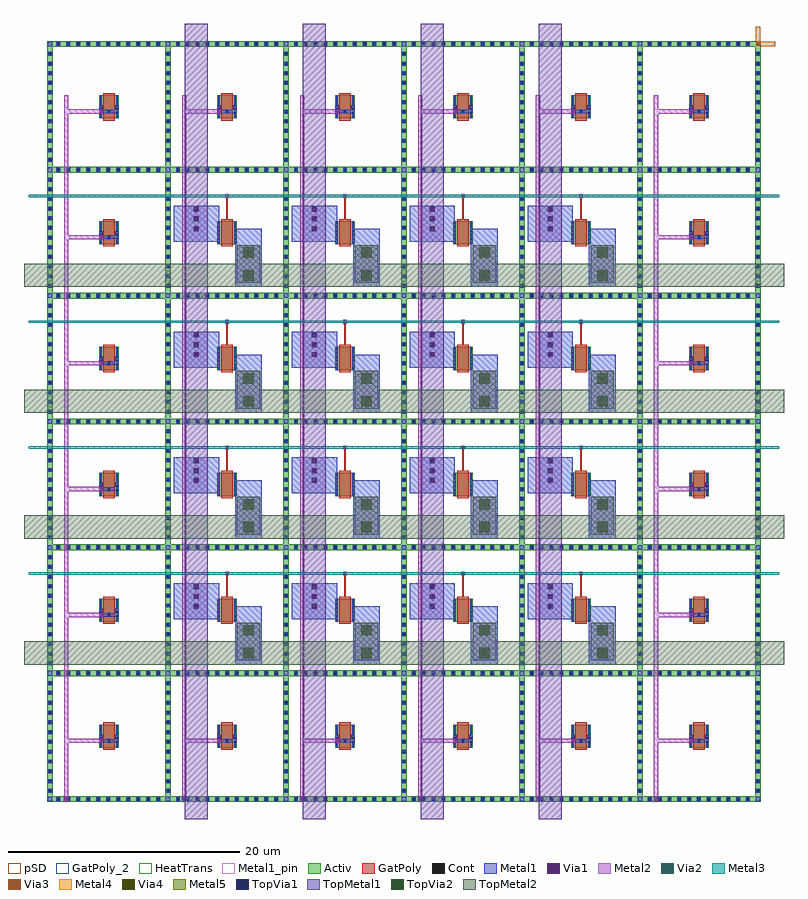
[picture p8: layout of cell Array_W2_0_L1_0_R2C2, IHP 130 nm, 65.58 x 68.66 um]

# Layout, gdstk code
import gdstk
lib = gdstk.Library(unit=1e-6, precision=1e-09)
def R(c, l, rs):  # rectangles x0, y0, x1, y1
    for r in rs: c.add(gdstk.rectangle(r[:2], r[2:], *l))
def A(c, l, x, y, w, h, nx, ny, dx, dy):  # array of equal rectangles
    R(c, l, [(x+i*dx, y+j*dy, x+i*dx+w, y+j*dy+h) for i in range(nx) for j in range(ny)])
Activ = (1, 0)
GatPoly = (5, 0)
GatPoly_2 = (5, 2)
Cont = (6, 0)
Metal1 = (8, 0)
Metal1_pin = (8, 2)
Metal2 = (10, 0)
pSD = (14, 0)
Via1 = (19, 0)
Via2 = (29, 0)
Metal3 = (30, 0)
Via3 = (49, 0)
Metal4 = (50, 0)
HeatTrans = (51, 0)
Via4 = (66, 0)
Metal5 = (67, 0)
TopVia1 = (125, 0)
TopMetal1 = (126, 0)
TopVia2 = (133, 0)
TopMetal2 = (134, 0)

array_w2_0_l1_0_r2c2 = lib.new_cell('Array_W2_0_L1_0_R2C2')
A(array_w2_0_l1_0_r2c2, Activ, 0, 0, 0.5, 65.66, 7, 1, 10.18, 0)
A(array_w2_0_l1_0_r2c2, Activ, 0, 0, 61.58, 0.5, 1, 7, 0, 10.86)
A(array_w2_0_l1_0_r2c2, Activ, 4.5, 4.68, 0.3, 0.3, 1, 6, 0, 10.86)
A(array_w2_0_l1_0_r2c2, Activ, 4.5, 4.68, 1.68, 2, 6, 6, 10.18, 10.86)
A(array_w2_0_l1_0_r2c2, Activ, 5.88, 4.68, 0.3, 0.3, 1, 6, 0, 10.86)
A(array_w2_0_l1_0_r2c2, Activ, 14.68, 4.68, 0.3, 0.3, 1, 6, 0, 10.86)
A(array_w2_0_l1_0_r2c2, Activ, 16.06, 4.68, 0.3, 0.3, 1, 6, 0, 10.86)
A(array_w2_0_l1_0_r2c2, Activ, 24.86, 4.68, 0.3, 0.3, 1, 6, 0, 10.86)
A(array_w2_0_l1_0_r2c2, Activ, 26.24, 4.68, 0.3, 0.3, 1, 6, 0, 10.86)
A(array_w2_0_l1_0_r2c2, Activ, 35.04, 4.68, 0.3, 0.3, 1, 6, 0, 10.86)
A(array_w2_0_l1_0_r2c2, Activ, 36.42, 4.68, 0.3, 0.3, 1, 6, 0, 10.86)
A(array_w2_0_l1_0_r2c2, Activ, 45.22, 4.68, 0.3, 0.3, 1, 6, 0, 10.86)
A(array_w2_0_l1_0_r2c2, Activ, 46.6, 4.68, 0.3, 0.3, 1, 6, 0, 10.86)
A(array_w2_0_l1_0_r2c2, Activ, 55.4, 4.68, 0.3, 0.3, 1, 6, 0, 10.86)
A(array_w2_0_l1_0_r2c2, Activ, 56.78, 4.68, 0.3, 0.3, 1, 6, 0, 10.86)
A(array_w2_0_l1_0_r2c2, GatPoly, 4.84, 4.5, 1, 2.36, 6, 6, 10.18, 10.86)
A(array_w2_0_l1_0_r2c2, GatPoly, 5.275, 5.28, 0.13, 0.2, 6, 2, 10.18, 54.3)
A(array_w2_0_l1_0_r2c2, GatPoly, 5.275, 16.14, 0.13, 0.2, 1, 4, 0, 10.86)
A(array_w2_0_l1_0_r2c2, GatPoly, 56.175, 16.14, 0.13, 0.2, 1, 4, 0, 10.86)
A(array_w2_0_l1_0_r2c2, GatPoly, 15.455, 17.72, 0.13, 2, 4, 4, 10.18, 10.86)
A(array_w2_0_l1_0_r2c2, GatPoly_2, 4.84, 4.5, 1, 2.36, 6, 6, 10.18, 10.86)
A(array_w2_0_l1_0_r2c2, Cont, 0.86, 0.14, 0.22, 0.22, 11, 7, 0.86, 10.86)
A(array_w2_0_l1_0_r2c2, Cont, 11.18, 0.14, 0.22, 0.22, 11, 7, 0.846, 10.86)
A(array_w2_0_l1_0_r2c2, Cont, 21.36, 0.14, 0.22, 0.22, 11, 7, 0.846, 10.86)
A(array_w2_0_l1_0_r2c2, Cont, 31.54, 0.14, 0.22, 0.22, 11, 7, 0.846, 10.86)
A(array_w2_0_l1_0_r2c2, Cont, 41.72, 0.14, 0.22, 0.22, 11, 7, 0.846, 10.86)
A(array_w2_0_l1_0_r2c2, Cont, 51.9, 0.14, 0.22, 0.22, 11, 7, 0.846, 10.86)
A(array_w2_0_l1_0_r2c2, Cont, 0.14, 0.845, 0.22, 0.22, 7, 12, 10.18, 0.845)
A(array_w2_0_l1_0_r2c2, Cont, 4.57, 4.75, 0.16, 0.16, 1, 6, 0, 0.34)
A(array_w2_0_l1_0_r2c2, Cont, 5.95, 4.75, 0.16, 0.16, 1, 6, 0, 0.34)
A(array_w2_0_l1_0_r2c2, Cont, 14.75, 4.75, 0.16, 0.16, 1, 6, 0, 0.34)
A(array_w2_0_l1_0_r2c2, Cont, 16.13, 4.75, 0.16, 0.16, 1, 6, 0, 0.34)
A(array_w2_0_l1_0_r2c2, Cont, 24.93, 4.75, 0.16, 0.16, 1, 6, 0, 0.34)
A(array_w2_0_l1_0_r2c2, Cont, 26.31, 4.75, 0.16, 0.16, 1, 6, 0, 0.34)
A(array_w2_0_l1_0_r2c2, Cont, 35.11, 4.75, 0.16, 0.16, 1, 6, 0, 0.34)
A(array_w2_0_l1_0_r2c2, Cont, 36.49, 4.75, 0.16, 0.16, 1, 6, 0, 0.34)
A(array_w2_0_l1_0_r2c2, Cont, 45.29, 4.75, 0.16, 0.16, 1, 6, 0, 0.34)
A(array_w2_0_l1_0_r2c2, Cont, 46.67, 4.75, 0.16, 0.16, 1, 6, 0, 0.34)
A(array_w2_0_l1_0_r2c2, Cont, 55.47, 4.75, 0.16, 0.16, 1, 6, 0, 0.34)
A(array_w2_0_l1_0_r2c2, Cont, 56.85, 4.75, 0.16, 0.16, 1, 6, 0, 0.34)
A(array_w2_0_l1_0_r2c2, Cont, 5.23, 5.17, 0.22, 0.22, 6, 2, 10.18, 54.3)
A(array_w2_0_l1_0_r2c2, Cont, 0.14, 11.86, 0.22, 0.22, 7, 2, 10.18, 0.83)
A(array_w2_0_l1_0_r2c2, Cont, 0.14, 13.521, 0.22, 0.22, 7, 10, 10.18, 0.831)
A(array_w2_0_l1_0_r2c2, Cont, 4.57, 15.61, 0.16, 0.16, 1, 6, 0, 0.34)
A(array_w2_0_l1_0_r2c2, Cont, 5.95, 15.61, 0.16, 0.16, 1, 6, 0, 0.34)
A(array_w2_0_l1_0_r2c2, Cont, 14.75, 15.61, 0.16, 0.16, 1, 6, 0, 0.34)
A(array_w2_0_l1_0_r2c2, Cont, 16.13, 15.61, 0.16, 0.16, 1, 6, 0, 0.34)
A(array_w2_0_l1_0_r2c2, Cont, 24.93, 15.61, 0.16, 0.16, 1, 6, 0, 0.34)
A(array_w2_0_l1_0_r2c2, Cont, 26.31, 15.61, 0.16, 0.16, 1, 6, 0, 0.34)
A(array_w2_0_l1_0_r2c2, Cont, 35.11, 15.61, 0.16, 0.16, 1, 6, 0, 0.34)
A(array_w2_0_l1_0_r2c2, Cont, 36.49, 15.61, 0.16, 0.16, 1, 6, 0, 0.34)
A(array_w2_0_l1_0_r2c2, Cont, 45.29, 15.61, 0.16, 0.16, 1, 6, 0, 0.34)
A(array_w2_0_l1_0_r2c2, Cont, 46.67, 15.61, 0.16, 0.16, 1, 6, 0, 0.34)
A(array_w2_0_l1_0_r2c2, Cont, 55.47, 15.61, 0.16, 0.16, 1, 6, 0, 0.34)
A(array_w2_0_l1_0_r2c2, Cont, 56.85, 15.61, 0.16, 0.16, 1, 6, 0, 0.34)
A(array_w2_0_l1_0_r2c2, Cont, 5.23, 16.03, 0.22, 0.22, 1, 4, 0, 10.86)
A(array_w2_0_l1_0_r2c2, Cont, 56.13, 16.03, 0.22, 0.22, 1, 4, 0, 10.86)
A(array_w2_0_l1_0_r2c2, Cont, 15.41, 19.61, 0.22, 0.22, 4, 4, 10.18, 10.86)
A(array_w2_0_l1_0_r2c2, Cont, 0.14, 22.72, 0.22, 0.22, 7, 2, 10.18, 0.83)
A(array_w2_0_l1_0_r2c2, Cont, 0.14, 24.381, 0.22, 0.22, 7, 10, 10.18, 0.831)
A(array_w2_0_l1_0_r2c2, Cont, 4.57, 26.47, 0.16, 0.16, 1, 6, 0, 0.34)
A(array_w2_0_l1_0_r2c2, Cont, 5.95, 26.47, 0.16, 0.16, 1, 6, 0, 0.34)
A(array_w2_0_l1_0_r2c2, Cont, 14.75, 26.47, 0.16, 0.16, 1, 6, 0, 0.34)
A(array_w2_0_l1_0_r2c2, Cont, 16.13, 26.47, 0.16, 0.16, 1, 6, 0, 0.34)
A(array_w2_0_l1_0_r2c2, Cont, 24.93, 26.47, 0.16, 0.16, 1, 6, 0, 0.34)
A(array_w2_0_l1_0_r2c2, Cont, 26.31, 26.47, 0.16, 0.16, 1, 6, 0, 0.34)
A(array_w2_0_l1_0_r2c2, Cont, 35.11, 26.47, 0.16, 0.16, 1, 6, 0, 0.34)
A(array_w2_0_l1_0_r2c2, Cont, 36.49, 26.47, 0.16, 0.16, 1, 6, 0, 0.34)
A(array_w2_0_l1_0_r2c2, Cont, 45.29, 26.47, 0.16, 0.16, 1, 6, 0, 0.34)
A(array_w2_0_l1_0_r2c2, Cont, 46.67, 26.47, 0.16, 0.16, 1, 6, 0, 0.34)
A(array_w2_0_l1_0_r2c2, Cont, 55.47, 26.47, 0.16, 0.16, 1, 6, 0, 0.34)
A(array_w2_0_l1_0_r2c2, Cont, 56.85, 26.47, 0.16, 0.16, 1, 6, 0, 0.34)
A(array_w2_0_l1_0_r2c2, Cont, 0.14, 33.58, 0.22, 0.22, 7, 2, 10.18, 0.83)
A(array_w2_0_l1_0_r2c2, Cont, 0.14, 35.241, 0.22, 0.22, 7, 10, 10.18, 0.831)
A(array_w2_0_l1_0_r2c2, Cont, 4.57, 37.33, 0.16, 0.16, 1, 6, 0, 0.34)
A(array_w2_0_l1_0_r2c2, Cont, 5.95, 37.33, 0.16, 0.16, 1, 6, 0, 0.34)
A(array_w2_0_l1_0_r2c2, Cont, 14.75, 37.33, 0.16, 0.16, 1, 6, 0, 0.34)
A(array_w2_0_l1_0_r2c2, Cont, 16.13, 37.33, 0.16, 0.16, 1, 6, 0, 0.34)
A(array_w2_0_l1_0_r2c2, Cont, 24.93, 37.33, 0.16, 0.16, 1, 6, 0, 0.34)
A(array_w2_0_l1_0_r2c2, Cont, 26.31, 37.33, 0.16, 0.16, 1, 6, 0, 0.34)
A(array_w2_0_l1_0_r2c2, Cont, 35.11, 37.33, 0.16, 0.16, 1, 6, 0, 0.34)
A(array_w2_0_l1_0_r2c2, Cont, 36.49, 37.33, 0.16, 0.16, 1, 6, 0, 0.34)
A(array_w2_0_l1_0_r2c2, Cont, 45.29, 37.33, 0.16, 0.16, 1, 6, 0, 0.34)
A(array_w2_0_l1_0_r2c2, Cont, 46.67, 37.33, 0.16, 0.16, 1, 6, 0, 0.34)
A(array_w2_0_l1_0_r2c2, Cont, 55.47, 37.33, 0.16, 0.16, 1, 6, 0, 0.34)
A(array_w2_0_l1_0_r2c2, Cont, 56.85, 37.33, 0.16, 0.16, 1, 6, 0, 0.34)
A(array_w2_0_l1_0_r2c2, Cont, 0.14, 44.44, 0.22, 0.22, 7, 2, 10.18, 0.83)
A(array_w2_0_l1_0_r2c2, Cont, 0.14, 46.101, 0.22, 0.22, 7, 10, 10.18, 0.831)
A(array_w2_0_l1_0_r2c2, Cont, 4.57, 48.19, 0.16, 0.16, 1, 6, 0, 0.34)
A(array_w2_0_l1_0_r2c2, Cont, 5.95, 48.19, 0.16, 0.16, 1, 6, 0, 0.34)
A(array_w2_0_l1_0_r2c2, Cont, 14.75, 48.19, 0.16, 0.16, 1, 6, 0, 0.34)
A(array_w2_0_l1_0_r2c2, Cont, 16.13, 48.19, 0.16, 0.16, 1, 6, 0, 0.34)
A(array_w2_0_l1_0_r2c2, Cont, 24.93, 48.19, 0.16, 0.16, 1, 6, 0, 0.34)
A(array_w2_0_l1_0_r2c2, Cont, 26.31, 48.19, 0.16, 0.16, 1, 6, 0, 0.34)
A(array_w2_0_l1_0_r2c2, Cont, 35.11, 48.19, 0.16, 0.16, 1, 6, 0, 0.34)
A(array_w2_0_l1_0_r2c2, Cont, 36.49, 48.19, 0.16, 0.16, 1, 6, 0, 0.34)
A(array_w2_0_l1_0_r2c2, Cont, 45.29, 48.19, 0.16, 0.16, 1, 6, 0, 0.34)
A(array_w2_0_l1_0_r2c2, Cont, 46.67, 48.19, 0.16, 0.16, 1, 6, 0, 0.34)
A(array_w2_0_l1_0_r2c2, Cont, 55.47, 48.19, 0.16, 0.16, 1, 6, 0, 0.34)
A(array_w2_0_l1_0_r2c2, Cont, 56.85, 48.19, 0.16, 0.16, 1, 6, 0, 0.34)
A(array_w2_0_l1_0_r2c2, Cont, 0.14, 55.3, 0.22, 0.22, 7, 2, 10.18, 0.83)
A(array_w2_0_l1_0_r2c2, Cont, 0.14, 56.961, 0.22, 0.22, 7, 10, 10.18, 0.831)
A(array_w2_0_l1_0_r2c2, Cont, 4.57, 59.05, 0.16, 0.16, 1, 6, 0, 0.34)
A(array_w2_0_l1_0_r2c2, Cont, 5.95, 59.05, 0.16, 0.16, 1, 6, 0, 0.34)
A(array_w2_0_l1_0_r2c2, Cont, 14.75, 59.05, 0.16, 0.16, 1, 6, 0, 0.34)
A(array_w2_0_l1_0_r2c2, Cont, 16.13, 59.05, 0.16, 0.16, 1, 6, 0, 0.34)
A(array_w2_0_l1_0_r2c2, Cont, 24.93, 59.05, 0.16, 0.16, 1, 6, 0, 0.34)
A(array_w2_0_l1_0_r2c2, Cont, 26.31, 59.05, 0.16, 0.16, 1, 6, 0, 0.34)
A(array_w2_0_l1_0_r2c2, Cont, 35.11, 59.05, 0.16, 0.16, 1, 6, 0, 0.34)
A(array_w2_0_l1_0_r2c2, Cont, 36.49, 59.05, 0.16, 0.16, 1, 6, 0, 0.34)
A(array_w2_0_l1_0_r2c2, Cont, 45.29, 59.05, 0.16, 0.16, 1, 6, 0, 0.34)
A(array_w2_0_l1_0_r2c2, Cont, 46.67, 59.05, 0.16, 0.16, 1, 6, 0, 0.34)
A(array_w2_0_l1_0_r2c2, Cont, 55.47, 59.05, 0.16, 0.16, 1, 6, 0, 0.34)
A(array_w2_0_l1_0_r2c2, Cont, 56.85, 59.05, 0.16, 0.16, 1, 6, 0, 0.34)
A(array_w2_0_l1_0_r2c2, Metal1, 0.8, 0.08, 0.34, 0.34, 11, 7, 0.86, 10.86)
A(array_w2_0_l1_0_r2c2, Metal1, 11.12, 0.08, 0.34, 0.34, 11, 7, 0.846, 10.86)
A(array_w2_0_l1_0_r2c2, Metal1, 21.3, 0.08, 0.34, 0.34, 11, 7, 0.846, 10.86)
A(array_w2_0_l1_0_r2c2, Metal1, 31.48, 0.08, 0.34, 0.34, 11, 7, 0.846, 10.86)
A(array_w2_0_l1_0_r2c2, Metal1, 41.66, 0.08, 0.34, 0.34, 11, 7, 0.846, 10.86)
A(array_w2_0_l1_0_r2c2, Metal1, 51.84, 0.08, 0.34, 0.34, 11, 7, 0.846, 10.86)
A(array_w2_0_l1_0_r2c2, Metal1, 0.08, 0.785, 0.34, 0.34, 7, 12, 10.18, 0.845)
A(array_w2_0_l1_0_r2c2, Metal1, 4.57, 4.68, 0.16, 2, 1, 6, 0, 10.86)
A(array_w2_0_l1_0_r2c2, Metal1, 5.95, 4.68, 0.16, 2, 1, 6, 0, 10.86)
A(array_w2_0_l1_0_r2c2, Metal1, 14.75, 4.68, 0.16, 2, 1, 6, 0, 10.86)
A(array_w2_0_l1_0_r2c2, Metal1, 16.13, 4.68, 0.16, 2, 1, 6, 0, 10.86)
A(array_w2_0_l1_0_r2c2, Metal1, 24.93, 4.68, 0.16, 2, 1, 6, 0, 10.86)
A(array_w2_0_l1_0_r2c2, Metal1, 26.31, 4.68, 0.16, 2, 1, 6, 0, 10.86)
A(array_w2_0_l1_0_r2c2, Metal1, 35.11, 4.68, 0.16, 2, 1, 6, 0, 10.86)
A(array_w2_0_l1_0_r2c2, Metal1, 36.49, 4.68, 0.16, 2, 1, 6, 0, 10.86)
A(array_w2_0_l1_0_r2c2, Metal1, 45.29, 4.68, 0.16, 2, 1, 6, 0, 10.86)
A(array_w2_0_l1_0_r2c2, Metal1, 46.67, 4.68, 0.16, 2, 1, 6, 0, 10.86)
A(array_w2_0_l1_0_r2c2, Metal1, 55.47, 4.68, 0.16, 2, 1, 6, 0, 10.86)
A(array_w2_0_l1_0_r2c2, Metal1, 56.85, 4.68, 0.16, 2, 1, 6, 0, 10.86)
A(array_w2_0_l1_0_r2c2, Metal1, 5.17, 5.11, 0.34, 0.34, 6, 2, 10.18, 54.3)
A(array_w2_0_l1_0_r2c2, Metal1, 4.51, 5.14, 0.28, 0.68, 1, 6, 0, 10.86)
A(array_w2_0_l1_0_r2c2, Metal1, 4.51, 5.14, 1.66, 0.28, 6, 2, 10.18, 54.3)
A(array_w2_0_l1_0_r2c2, Metal1, 5.89, 5.14, 0.28, 0.68, 1, 6, 0, 10.86)
A(array_w2_0_l1_0_r2c2, Metal1, 55.41, 5.14, 0.28, 0.68, 1, 6, 0, 10.86)
A(array_w2_0_l1_0_r2c2, Metal1, 56.79, 5.14, 0.28, 0.68, 1, 6, 0, 10.86)
A(array_w2_0_l1_0_r2c2, Metal1, 0.05, 10.91, 0.4, 0.4, 7, 6, 10.18, 10.86)
A(array_w2_0_l1_0_r2c2, Metal1, 0.08, 11.8, 0.34, 0.34, 7, 2, 10.18, 0.83)
A(array_w2_0_l1_0_r2c2, Metal1, 16.21, 11.86, 2.32, 5.02, 4, 4, 10.18, 10.86)
A(array_w2_0_l1_0_r2c2, Metal1, 0.08, 13.461, 0.34, 0.34, 7, 10, 10.18, 0.831)
A(array_w2_0_l1_0_r2c2, Metal1, 10.91, 15.76, 3.92, 3.11, 4, 4, 10.18, 10.86)
A(array_w2_0_l1_0_r2c2, Metal1, 5.17, 15.97, 0.34, 0.34, 1, 4, 0, 10.86)
A(array_w2_0_l1_0_r2c2, Metal1, 56.07, 15.97, 0.34, 0.34, 1, 4, 0, 10.86)
A(array_w2_0_l1_0_r2c2, Metal1, 4.51, 16, 1.66, 0.28, 1, 4, 0, 10.86)
A(array_w2_0_l1_0_r2c2, Metal1, 55.41, 16, 1.66, 0.28, 1, 4, 0, 10.86)
A(array_w2_0_l1_0_r2c2, Metal1, 15.36, 19.56, 0.32, 0.32, 4, 4, 10.18, 10.86)
A(array_w2_0_l1_0_r2c2, Metal1, 0.08, 22.66, 0.34, 0.34, 7, 2, 10.18, 0.83)
A(array_w2_0_l1_0_r2c2, Metal1, 0.08, 24.321, 0.34, 0.34, 7, 10, 10.18, 0.831)
A(array_w2_0_l1_0_r2c2, Metal1, 0.08, 33.52, 0.34, 0.34, 7, 2, 10.18, 0.83)
A(array_w2_0_l1_0_r2c2, Metal1, 0.08, 35.181, 0.34, 0.34, 7, 10, 10.18, 0.831)
A(array_w2_0_l1_0_r2c2, Metal1, 0.08, 44.38, 0.34, 0.34, 7, 2, 10.18, 0.83)
A(array_w2_0_l1_0_r2c2, Metal1, 0.08, 46.041, 0.34, 0.34, 7, 10, 10.18, 0.831)
A(array_w2_0_l1_0_r2c2, Metal1, 0.08, 55.24, 0.34, 0.34, 7, 2, 10.18, 0.83)
A(array_w2_0_l1_0_r2c2, Metal1, 0.08, 56.901, 0.34, 0.34, 7, 10, 10.18, 0.831)
R(array_w2_0_l1_0_r2c2, Metal1, [(0.05,0.05,0.45,0.45), (1.44,0.05,1.84,0.45), (10.23,0.05,10.63,0.45), (11.62,0.05,12.02,0.45), (20.41,0.05,20.81,0.45), (21.8,0.05,22.2,0.45), (30.59,0.05,30.99,0.45), (31.98,0.05,32.38,0.45), (40.77,0.05,41.17,0.45), (42.16,0.05,42.56,0.45), (50.95,0.05,51.35,0.45), (52.34,0.05,52.74,0.45), (61.13,0.05,61.53,0.45), (14.69,5.14,14.97,5.82), (16.07,5.14,16.35,5.82), (24.87,5.14,25.15,5.82), (26.25,5.14,26.53,5.82), (35.05,5.14,35.33,5.82), (36.43,5.14,36.71,5.82), (45.23,5.14,45.51,5.82), (46.61,5.14,46.89,5.82), (14.69,59.44,14.97,60.12), (16.07,59.44,16.35,60.12), (24.87,59.44,25.15,60.12), (26.25,59.44,26.53,60.12), (35.05,59.44,35.33,60.12), (36.43,59.44,36.71,60.12), (45.23,59.44,45.51,60.12), (46.61,59.44,46.89,60.12)])
A(array_w2_0_l1_0_r2c2, Metal1_pin, 4.57, 4.68, 0.16, 2, 1, 6, 0, 10.86)
A(array_w2_0_l1_0_r2c2, Metal1_pin, 5.95, 4.68, 0.16, 2, 1, 6, 0, 10.86)
A(array_w2_0_l1_0_r2c2, Metal1_pin, 14.75, 4.68, 0.16, 2, 1, 6, 0, 10.86)
A(array_w2_0_l1_0_r2c2, Metal1_pin, 16.13, 4.68, 0.16, 2, 1, 6, 0, 10.86)
A(array_w2_0_l1_0_r2c2, Metal1_pin, 24.93, 4.68, 0.16, 2, 1, 6, 0, 10.86)
A(array_w2_0_l1_0_r2c2, Metal1_pin, 26.31, 4.68, 0.16, 2, 1, 6, 0, 10.86)
A(array_w2_0_l1_0_r2c2, Metal1_pin, 35.11, 4.68, 0.16, 2, 1, 6, 0, 10.86)
A(array_w2_0_l1_0_r2c2, Metal1_pin, 36.49, 4.68, 0.16, 2, 1, 6, 0, 10.86)
A(array_w2_0_l1_0_r2c2, Metal1_pin, 45.29, 4.68, 0.16, 2, 1, 6, 0, 10.86)
A(array_w2_0_l1_0_r2c2, Metal1_pin, 46.67, 4.68, 0.16, 2, 1, 6, 0, 10.86)
A(array_w2_0_l1_0_r2c2, Metal1_pin, 55.47, 4.68, 0.16, 2, 1, 6, 0, 10.86)
A(array_w2_0_l1_0_r2c2, Metal1_pin, 56.85, 4.68, 0.16, 2, 1, 6, 0, 10.86)
A(array_w2_0_l1_0_r2c2, Metal2, 1.46, 0.07, 0.36, 60.91, 6, 1, 10.18, 0)
A(array_w2_0_l1_0_r2c2, Metal2, 1.46, 5.1, 3.37, 0.36, 6, 2, 10.18, 54.3)
A(array_w2_0_l1_0_r2c2, Metal2, 17.215, 12.705, 0.31, 0.31, 4, 2, 10.18, 1.96)
A(array_w2_0_l1_0_r2c2, Metal2, 1.46, 15.96, 3.37, 0.36, 1, 4, 0, 10.86)
A(array_w2_0_l1_0_r2c2, Metal2, 52.36, 15.96, 3.37, 0.36, 1, 4, 0, 10.86)
A(array_w2_0_l1_0_r2c2, Metal2, 12.715, 16.735, 0.31, 0.31, 4, 3, 10.18, 0.84)
A(array_w2_0_l1_0_r2c2, Metal2, 15.375, 19.575, 0.29, 0.29, 4, 4, 10.18, 10.86)
A(array_w2_0_l1_0_r2c2, Metal2, 17.215, 23.565, 0.31, 0.31, 4, 2, 10.18, 1.96)
A(array_w2_0_l1_0_r2c2, Metal2, 12.715, 27.595, 0.31, 0.31, 4, 3, 10.18, 0.84)
A(array_w2_0_l1_0_r2c2, Metal2, 17.215, 34.425, 0.31, 0.31, 4, 2, 10.18, 1.96)
A(array_w2_0_l1_0_r2c2, Metal2, 12.715, 38.455, 0.31, 0.31, 4, 3, 10.18, 0.84)
A(array_w2_0_l1_0_r2c2, Metal2, 17.215, 45.285, 0.31, 0.31, 4, 2, 10.18, 1.96)
A(array_w2_0_l1_0_r2c2, Metal2, 12.715, 49.315, 0.31, 0.31, 4, 3, 10.18, 0.84)
R(array_w2_0_l1_0_r2c2, Metal2, [(61.15,65.23,61.51,65.59)])
A(array_w2_0_l1_0_r2c2, pSD, 0, 0, 0.5, 65.66, 7, 1, 10.18, 0)
A(array_w2_0_l1_0_r2c2, pSD, 0, 0, 61.58, 0.5, 1, 7, 0, 10.86)
A(array_w2_0_l1_0_r2c2, Via1, 1.545, 0.155, 0.19, 0.19, 6, 1, 10.18, 0)
A(array_w2_0_l1_0_r2c2, Via1, 4.555, 5.185, 0.19, 0.19, 6, 2, 10.18, 54.3)
A(array_w2_0_l1_0_r2c2, Via1, 17.275, 12.765, 0.19, 0.19, 4, 2, 10.18, 1.96)
A(array_w2_0_l1_0_r2c2, Via1, 4.555, 16.045, 0.19, 0.19, 1, 4, 0, 10.86)
A(array_w2_0_l1_0_r2c2, Via1, 55.455, 16.045, 0.19, 0.19, 1, 4, 0, 10.86)
A(array_w2_0_l1_0_r2c2, Via1, 12.775, 16.795, 0.19, 0.19, 4, 3, 10.18, 0.84)
A(array_w2_0_l1_0_r2c2, Via1, 15.425, 19.625, 0.19, 0.19, 4, 4, 10.18, 10.86)
A(array_w2_0_l1_0_r2c2, Via1, 17.275, 23.625, 0.19, 0.19, 4, 2, 10.18, 1.96)
A(array_w2_0_l1_0_r2c2, Via1, 12.775, 27.655, 0.19, 0.19, 4, 3, 10.18, 0.84)
A(array_w2_0_l1_0_r2c2, Via1, 17.275, 34.485, 0.19, 0.19, 4, 2, 10.18, 1.96)
A(array_w2_0_l1_0_r2c2, Via1, 12.775, 38.515, 0.19, 0.19, 4, 3, 10.18, 0.84)
A(array_w2_0_l1_0_r2c2, Via1, 17.275, 45.345, 0.19, 0.19, 4, 2, 10.18, 1.96)
A(array_w2_0_l1_0_r2c2, Via1, 12.775, 49.375, 0.19, 0.19, 4, 3, 10.18, 0.84)
R(array_w2_0_l1_0_r2c2, Via1, [(61.235,65.315,61.425,65.505)])
A(array_w2_0_l1_0_r2c2, Via2, 17.275, 12.765, 0.19, 0.19, 4, 2, 10.18, 1.96)
A(array_w2_0_l1_0_r2c2, Via2, 12.775, 16.795, 0.19, 0.19, 4, 3, 10.18, 0.84)
A(array_w2_0_l1_0_r2c2, Via2, 15.425, 19.625, 0.19, 0.19, 4, 4, 10.18, 10.86)
A(array_w2_0_l1_0_r2c2, Via2, 17.275, 23.625, 0.19, 0.19, 4, 2, 10.18, 1.96)
A(array_w2_0_l1_0_r2c2, Via2, 12.775, 27.655, 0.19, 0.19, 4, 3, 10.18, 0.84)
A(array_w2_0_l1_0_r2c2, Via2, 17.275, 34.485, 0.19, 0.19, 4, 2, 10.18, 1.96)
A(array_w2_0_l1_0_r2c2, Via2, 12.775, 38.515, 0.19, 0.19, 4, 3, 10.18, 0.84)
A(array_w2_0_l1_0_r2c2, Via2, 17.275, 45.345, 0.19, 0.19, 4, 2, 10.18, 1.96)
A(array_w2_0_l1_0_r2c2, Via2, 12.775, 49.375, 0.19, 0.19, 4, 3, 10.18, 0.84)
R(array_w2_0_l1_0_r2c2, Via2, [(61.235,65.315,61.425,65.505)])
A(array_w2_0_l1_0_r2c2, Metal3, 17.215, 12.705, 0.31, 0.31, 4, 2, 10.18, 1.96)
A(array_w2_0_l1_0_r2c2, Metal3, 12.715, 16.735, 0.31, 0.31, 4, 3, 10.18, 0.84)
A(array_w2_0_l1_0_r2c2, Metal3, -1.6, 19.62, 64.78, 0.2, 1, 4, 0, 10.86)
A(array_w2_0_l1_0_r2c2, Metal3, 15.42, 19.62, 0.2, 0.2, 4, 4, 10.18, 10.86)
A(array_w2_0_l1_0_r2c2, Metal3, 17.215, 23.565, 0.31, 0.31, 4, 2, 10.18, 1.96)
A(array_w2_0_l1_0_r2c2, Metal3, 12.715, 27.595, 0.31, 0.31, 4, 3, 10.18, 0.84)
A(array_w2_0_l1_0_r2c2, Metal3, 17.215, 34.425, 0.31, 0.31, 4, 2, 10.18, 1.96)
A(array_w2_0_l1_0_r2c2, Metal3, 12.715, 38.455, 0.31, 0.31, 4, 3, 10.18, 0.84)
A(array_w2_0_l1_0_r2c2, Metal3, 17.215, 45.285, 0.31, 0.31, 4, 2, 10.18, 1.96)
A(array_w2_0_l1_0_r2c2, Metal3, 12.715, 49.315, 0.31, 0.31, 4, 3, 10.18, 0.84)
R(array_w2_0_l1_0_r2c2, Metal3, [(61.23,65.31,61.43,65.51)])
A(array_w2_0_l1_0_r2c2, Via3, 17.275, 12.765, 0.19, 0.19, 4, 2, 10.18, 1.96)
A(array_w2_0_l1_0_r2c2, Via3, 12.775, 16.795, 0.19, 0.19, 4, 3, 10.18, 0.84)
A(array_w2_0_l1_0_r2c2, Via3, 17.275, 23.625, 0.19, 0.19, 4, 2, 10.18, 1.96)
A(array_w2_0_l1_0_r2c2, Via3, 12.775, 27.655, 0.19, 0.19, 4, 3, 10.18, 0.84)
A(array_w2_0_l1_0_r2c2, Via3, 17.275, 34.485, 0.19, 0.19, 4, 2, 10.18, 1.96)
A(array_w2_0_l1_0_r2c2, Via3, 12.775, 38.515, 0.19, 0.19, 4, 3, 10.18, 0.84)
A(array_w2_0_l1_0_r2c2, Via3, 17.275, 45.345, 0.19, 0.19, 4, 2, 10.18, 1.96)
A(array_w2_0_l1_0_r2c2, Via3, 12.775, 49.375, 0.19, 0.19, 4, 3, 10.18, 0.84)
R(array_w2_0_l1_0_r2c2, Via3, [(61.235,65.315,61.425,65.505)])
A(array_w2_0_l1_0_r2c2, Metal4, 17.215, 12.705, 0.31, 0.31, 4, 2, 10.18, 1.96)
A(array_w2_0_l1_0_r2c2, Metal4, 12.715, 16.735, 0.31, 0.31, 4, 3, 10.18, 0.84)
A(array_w2_0_l1_0_r2c2, Metal4, 17.215, 23.565, 0.31, 0.31, 4, 2, 10.18, 1.96)
A(array_w2_0_l1_0_r2c2, Metal4, 12.715, 27.595, 0.31, 0.31, 4, 3, 10.18, 0.84)
A(array_w2_0_l1_0_r2c2, Metal4, 17.215, 34.425, 0.31, 0.31, 4, 2, 10.18, 1.96)
A(array_w2_0_l1_0_r2c2, Metal4, 12.715, 38.455, 0.31, 0.31, 4, 3, 10.18, 0.84)
A(array_w2_0_l1_0_r2c2, Metal4, 17.215, 45.285, 0.31, 0.31, 4, 2, 10.18, 1.96)
A(array_w2_0_l1_0_r2c2, Metal4, 12.715, 49.315, 0.31, 0.31, 4, 3, 10.18, 0.84)
R(array_w2_0_l1_0_r2c2, Metal4, [(61.13,65.21,62.83,65.61), (61.13,65.21,61.53,66.91)])
A(array_w2_0_l1_0_r2c2, HeatTrans, 4.84, 4.5, 1, 2.36, 6, 6, 10.18, 10.86)
A(array_w2_0_l1_0_r2c2, Via4, 17.275, 12.765, 0.19, 0.19, 4, 2, 10.18, 1.96)
A(array_w2_0_l1_0_r2c2, Via4, 12.775, 16.795, 0.19, 0.19, 4, 3, 10.18, 0.84)
A(array_w2_0_l1_0_r2c2, Via4, 17.275, 23.625, 0.19, 0.19, 4, 2, 10.18, 1.96)
A(array_w2_0_l1_0_r2c2, Via4, 12.775, 27.655, 0.19, 0.19, 4, 3, 10.18, 0.84)
A(array_w2_0_l1_0_r2c2, Via4, 17.275, 34.485, 0.19, 0.19, 4, 2, 10.18, 1.96)
A(array_w2_0_l1_0_r2c2, Via4, 12.775, 38.515, 0.19, 0.19, 4, 3, 10.18, 0.84)
A(array_w2_0_l1_0_r2c2, Via4, 17.275, 45.345, 0.19, 0.19, 4, 2, 10.18, 1.96)
A(array_w2_0_l1_0_r2c2, Via4, 12.775, 49.375, 0.19, 0.19, 4, 3, 10.18, 0.84)
A(array_w2_0_l1_0_r2c2, Metal5, 17.215, 12.705, 0.31, 0.31, 4, 2, 10.18, 1.96)
A(array_w2_0_l1_0_r2c2, Metal5, 12.715, 16.735, 0.31, 0.31, 4, 3, 10.18, 0.84)
A(array_w2_0_l1_0_r2c2, Metal5, 17.215, 23.565, 0.31, 0.31, 4, 2, 10.18, 1.96)
A(array_w2_0_l1_0_r2c2, Metal5, 12.715, 27.595, 0.31, 0.31, 4, 3, 10.18, 0.84)
A(array_w2_0_l1_0_r2c2, Metal5, 17.215, 34.425, 0.31, 0.31, 4, 2, 10.18, 1.96)
A(array_w2_0_l1_0_r2c2, Metal5, 12.715, 38.455, 0.31, 0.31, 4, 3, 10.18, 0.84)
A(array_w2_0_l1_0_r2c2, Metal5, 17.215, 45.285, 0.31, 0.31, 4, 2, 10.18, 1.96)
A(array_w2_0_l1_0_r2c2, Metal5, 12.715, 49.315, 0.31, 0.31, 4, 3, 10.18, 0.84)
A(array_w2_0_l1_0_r2c2, TopVia1, 17.16, 12.65, 0.42, 0.42, 4, 2, 10.18, 1.96)
A(array_w2_0_l1_0_r2c2, TopVia1, 12.66, 16.68, 0.42, 0.42, 4, 3, 10.18, 0.84)
A(array_w2_0_l1_0_r2c2, TopVia1, 17.16, 23.51, 0.42, 0.42, 4, 2, 10.18, 1.96)
A(array_w2_0_l1_0_r2c2, TopVia1, 12.66, 27.54, 0.42, 0.42, 4, 3, 10.18, 0.84)
A(array_w2_0_l1_0_r2c2, TopVia1, 17.16, 34.37, 0.42, 0.42, 4, 2, 10.18, 1.96)
A(array_w2_0_l1_0_r2c2, TopVia1, 12.66, 38.4, 0.42, 0.42, 4, 3, 10.18, 0.84)
A(array_w2_0_l1_0_r2c2, TopVia1, 17.16, 45.23, 0.42, 0.42, 4, 2, 10.18, 1.96)
A(array_w2_0_l1_0_r2c2, TopVia1, 12.66, 49.26, 0.42, 0.42, 4, 3, 10.18, 0.84)
A(array_w2_0_l1_0_r2c2, TopMetal1, 11.87, -1.5, 2, 68.66, 4, 1, 10.18, 0)
A(array_w2_0_l1_0_r2c2, TopMetal1, 16.37, 12.21, 2, 3.26, 4, 4, 10.18, 10.86)
A(array_w2_0_l1_0_r2c2, TopMetal1, 11.87, 16.58, 2, 2.3, 4, 4, 10.18, 10.86)
A(array_w2_0_l1_0_r2c2, TopVia2, 16.92, 12.41, 0.9, 0.9, 4, 2, 10.18, 1.96)
A(array_w2_0_l1_0_r2c2, TopVia2, 16.92, 23.27, 0.9, 0.9, 4, 2, 10.18, 1.96)
A(array_w2_0_l1_0_r2c2, TopVia2, 16.92, 34.13, 0.9, 0.9, 4, 2, 10.18, 1.96)
A(array_w2_0_l1_0_r2c2, TopVia2, 16.92, 44.99, 0.9, 0.9, 4, 2, 10.18, 1.96)
A(array_w2_0_l1_0_r2c2, TopMetal2, -2, 11.86, 65.58, 2, 1, 4, 0, 10.86)
A(array_w2_0_l1_0_r2c2, TopMetal2, 16.37, 12.21, 2, 3.26, 4, 4, 10.18, 10.86)

lib.write_gds('Array_W2_0_L1_0_R2C2.gds')
